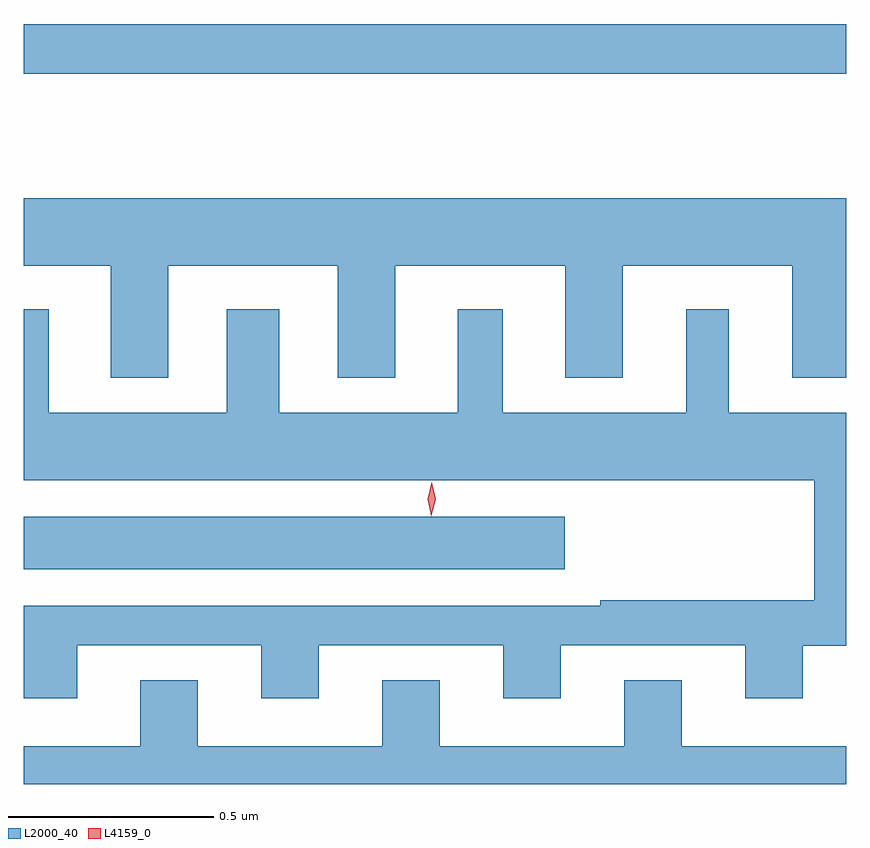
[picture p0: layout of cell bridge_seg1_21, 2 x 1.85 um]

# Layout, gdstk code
import gdstk
lib = gdstk.Library(unit=1e-6, precision=1e-09)
def R(c, l, rs):  # rectangles x0, y0, x1, y1
    for r in rs: c.add(gdstk.rectangle(r[:2], r[2:], *l))
def P(c, l, *ps):  # polygons
    for p in ps: c.add(gdstk.Polygon(p, *l))
L2000_40 = (2000, 40)
L4159_0 = (4159, 0)

bridge_seg1_21 = lib.new_cell('bridge_seg1_21')
R(bridge_seg1_21, L2000_40, [(829.827,545.666,831.142,545.794), (829.827,546.87,831.827,546.991)])
P(bridge_seg1_21, L2000_40, [(830.179,546.404),(830.591,546.404),(830.591,546.131),(830.731,546.131),(830.731,546.404),(831.143,546.404),(831.143,546.131),(831.283,546.131),(831.283,546.404),(831.695,546.404),(831.695,546.131),(831.827,546.131),(831.827,546.568),(829.827,546.568),(829.827,546.404),(830.039,546.404),(830.039,546.131),(830.179,546.131)],
  [(829.957,545.481),(830.405,545.481),(830.405,545.352),(830.545,545.352),(830.545,545.481),(830.993,545.481),(830.993,545.352),(831.133,545.352),(831.133,545.481),(831.581,545.481),(831.581,545.352),(831.721,545.352),(831.721,545.48),(831.827,545.48),(831.827,546.046),(831.541,546.046),(831.541,546.298),(831.437,546.298),(831.437,546.046),(830.992,546.046),(830.992,546.298),(830.882,546.298),(830.882,546.046),(830.449,546.046),(830.449,546.298),(830.321,546.298),(830.321,546.046),(829.888,546.046),(829.888,546.298),(829.827,546.298),(829.827,545.882),(831.749,545.882),(831.749,545.59),(831.229,545.59),(831.229,545.577),(829.827,545.577),(829.827,545.352),(829.957,545.352)],
  [(831.827,545.236),(831.427,545.236),(831.427,545.396),(831.287,545.396),(831.287,545.236),(830.839,545.236),(830.839,545.396),(830.699,545.396),(830.699,545.236),(830.251,545.236),(830.251,545.396),(830.111,545.396),(830.111,545.236),(829.827,545.236),(829.827,545.144),(831.827,545.144)])
P(bridge_seg1_21, L4159_0, [(830.818,545.795),(830.818,545.796),(830.809,545.836),(830.819,545.877),(830.819,545.877),(830.819,545.877),(830.829,545.836),(830.818,545.796)])

lib.write_gds('bridge_seg1_21.gds')
